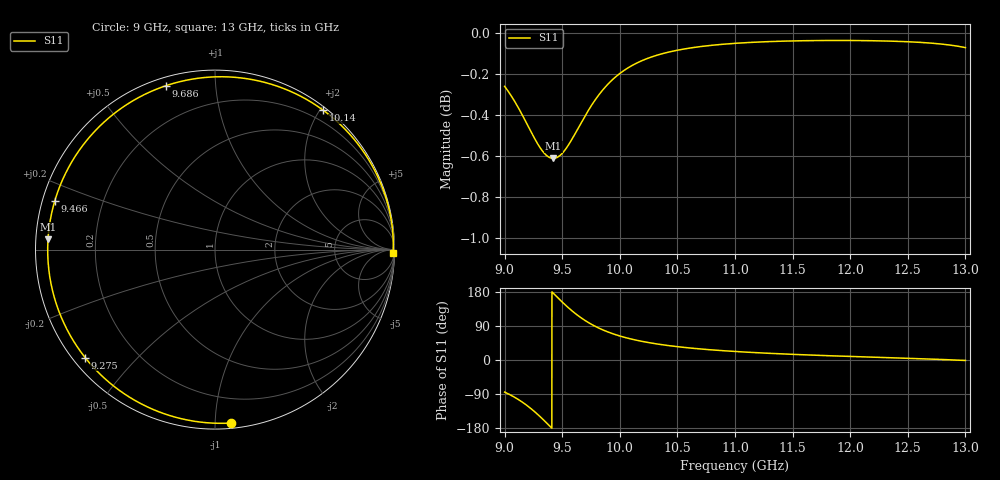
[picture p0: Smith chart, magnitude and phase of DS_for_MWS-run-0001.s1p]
! TOUCHSTONE file generated by CST DESIGN STUDIO
! Date and time: Tue Feb  4 14:25:25 2025
! Project name: C:\Work\MatlabApps\UnitCellOptimizationMatlab\CST\unitcell.cst
! Tree item: Tasks\Sweep1\SPara1\S-Parameters
! Header version: 2024
! Port assignment regex: !\s*Touchstone port\s*([0-9]+)\s*=\s*(CST MWS port|CST DES external port|CST DES block port)\s*(.+)\s* \(\"(.*)\"\)(\s*mode\s*([0-9]+))?.*
! Touchstone port assignment:
! Touchstone port 1 = CST DES external port 1 ("")
# GHz S MA R 50
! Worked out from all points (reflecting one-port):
!   4001 points, 9 GHz to 13 GHz, reference 50 ohm
!   lowest |S11| = -0.6 dB at 9.422 GHz (marker M1), VSWR 28.46, Z = 1.76 + j1.55 ohm
!   phase of S11 starts at -85 deg and turns -277 deg over the sweep
!   S11 on the Smith chart (normalised r, x): 9 GHz: 0.03, -1.10; 9.275 GHz: 0.03, -0.36; 9.466 GHz: 0.04, +0.15; 9.686 GHz: 0.04, +0.74; 10.14 GHz: 0.04, +2.04; 13 GHz: 31, -81
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9  0.9705 -84.7
9.082  0.9629 -97.5
9.151  0.9553 -110.6
9.214  0.9479 -124.7
9.275  0.941 -140.2
9.316  0.937 -151.7
9.353  0.9343 -162.5
9.388  0.9326 -173.1
9.422  0.9321 176.5
9.466  0.933 163.1
9.5  0.9347 153.0
9.547  0.9385 139.7
9.592  0.9429 128.0
9.638  0.9479 117.0
9.686  0.9532 106.7
9.756  0.9603 93.8
9.839  0.9675 81.3
9.917  0.9729 71.7
10  0.9775 63.4
10.145  0.9831 52.2
10.306  0.9872 43.1
10.5  0.9903 35.2
10.723  0.9925 28.5
11  0.9941 22.5
11.5  0.9954 14.9
12  0.9957 9.4
12.5  0.995 4.5
13  0.9917 -1.2
